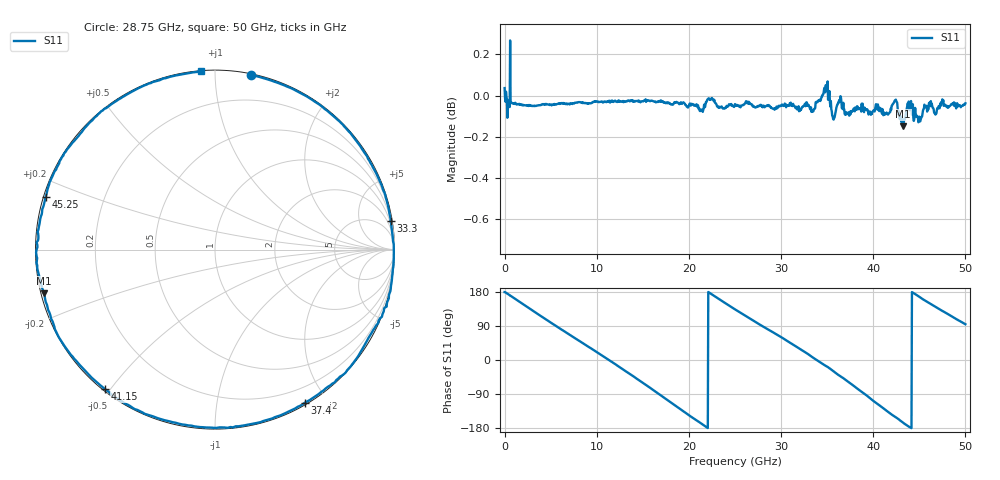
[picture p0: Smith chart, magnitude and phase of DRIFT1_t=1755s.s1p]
!Created with skrf (http://scikit-rf.org).
# Hz S RI R 50.0
!freq ReS11 ImS11
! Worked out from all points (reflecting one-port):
!   1001 points, 300 kHz to 50 GHz, reference 50 ohm
!   lowest |S11| = -0.1 dB at 43.25 GHz (marker M1), VSWR 116.58, Z = 0.436 - j6.31 ohm
!   phase of S11 starts at 179 deg and turns -805 deg over the sweep
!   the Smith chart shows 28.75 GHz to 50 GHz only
!   S11 on the Smith chart (normalised r, x): 28.75 GHz: 0.01, +1.23; 33.3 GHz: 1, +12; 37.4 GHz: 0.02, -1.75; 41.15 GHz: 0.01, -0.48; 45.25 GHz: 0.01, +0.15; 50 GHz: 0.00, +0.93
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300000  -1.004 0.0132
1.65029e9  -0.8871 0.4507
3.500279e9  -0.5404 0.8348
6.250262e9  0.1857 0.9781
7.850253e9  0.5808 0.8092
9.650242e9  0.8924 0.4431
1.250022e10  0.9413 -0.3276
1.400022e10  0.7232 -0.6865
1.58502e10  0.2671 -0.9605
1.72502e10  -0.1466 -0.9852
1.875019e10  -0.5603 -0.8236
2.030018e10  -0.8689 -0.4856
2.190017e10  -0.9951 -0.0501
2.500015e10  -0.6866 0.7206
2.685014e10  -0.2733 0.9562
2.875013e10  0.2003 0.9739
3.125011e10  0.7459 0.6572
3.33001e10  0.9783 0.1575
3.515009e10  0.94 -0.3443
3.740008e10  0.501 -0.8525
3.750008e10  0.4745 -0.87
3.930006e10  -0.0659 -0.9896
4.115005e10  -0.6144 -0.7772
4.325004e10  -0.9522 -0.2442
4.375004e10  -0.9905 -0.1019
4.525003e10  -0.943 0.2958
4.750002e10  -0.634 0.7705
5e10  -0.0759 0.9928
